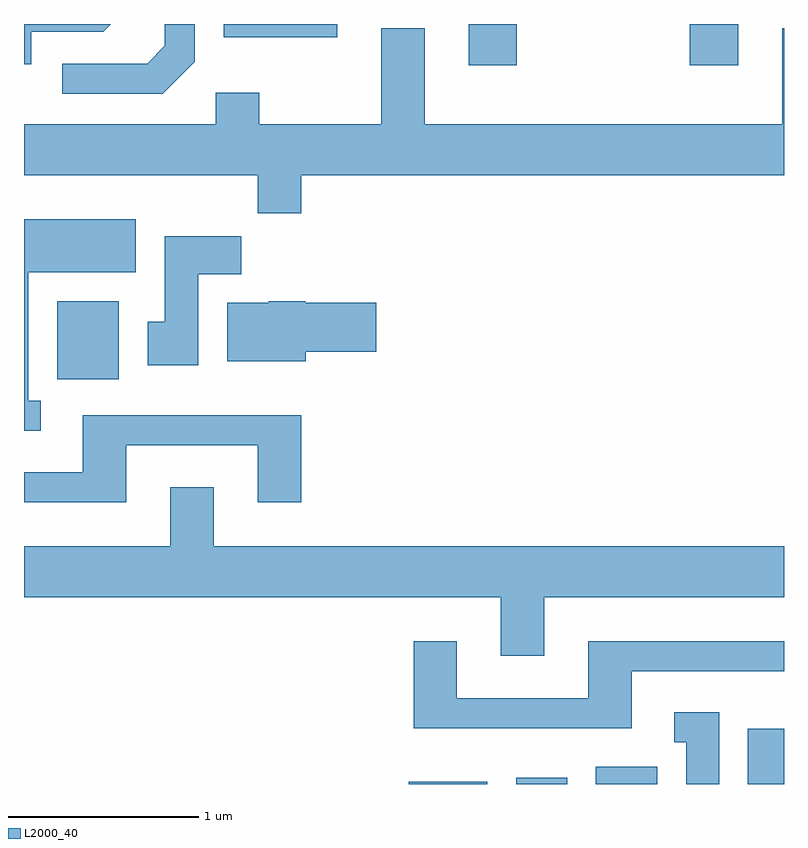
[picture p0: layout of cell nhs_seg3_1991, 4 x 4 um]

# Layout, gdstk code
import gdstk
lib = gdstk.Library(unit=1e-6, precision=1e-09)
def R(c, l, rs):  # rectangles x0, y0, x1, y1
    for r in rs: c.add(gdstk.rectangle(r[:2], r[2:], *l))
def P(c, l, *ps):  # polygons
    for p in ps: c.add(gdstk.Polygon(p, *l))
L2000_40 = (2000, 40)

nhs_seg3_1991 = lib.new_cell('nhs_seg3_1991')
R(nhs_seg3_1991, L2000_40, [(245.636,1153.892,246.049,1153.904), (246.201,1153.892,246.469,1153.924), (246.621,1153.892,246.944,1153.984), (247.421,1153.892,247.611,1154.184), (243.786,1156.021,244.109,1156.434), (245.951,1157.676,246.204,1157.892), (247.116,1157.676,247.369,1157.892), (244.661,1157.821,245.259,1157.892)])
P(nhs_seg3_1991, L2000_40, [(243.649,1157.851),(244.027,1157.851),(244.068,1157.892),(243.611,1157.892),(243.611,1157.681),(243.649,1157.681)],
  [(244.509,1157.694),(244.509,1157.892),(244.351,1157.892),(244.351,1157.777),(244.259,1157.684),(243.813,1157.684),(243.813,1157.526),(244.342,1157.526)],
  [(245.069,1157.096),(247.611,1157.096),(247.611,1157.869),(247.601,1157.869),(247.601,1157.364),(245.719,1157.364),(245.719,1157.869),(245.491,1157.869),(245.491,1157.364),(244.849,1157.364),(244.849,1157.529),(244.621,1157.529),(244.621,1157.364),(243.611,1157.364),(243.611,1157.096),(244.841,1157.096),(244.841,1156.896),(245.069,1156.896)],
  [(243.698,1155.909),(243.634,1155.909),(243.634,1156.586),(244.199,1156.586),(244.199,1156.864),(243.611,1156.864),(243.611,1155.751),(243.698,1155.751)],
  [(244.529,1156.576),(244.754,1156.576),(244.754,1156.774),(244.351,1156.774),(244.351,1156.324),(244.261,1156.324),(244.261,1156.096),(244.529,1156.096)],
  [(245.094,1156.166),(245.464,1156.166),(245.464,1156.424),(245.09,1156.424),(245.09,1156.434),(244.9,1156.434),(244.9,1156.424),(244.681,1156.424),(244.681,1156.116),(245.094,1156.116)],
  [(244.149,1155.676),(244.841,1155.676),(244.841,1155.376),(245.069,1155.376),(245.069,1155.834),(243.921,1155.834),(243.921,1155.534),(243.611,1155.534),(243.611,1155.376),(244.149,1155.376)],
  [(246.349,1154.876),(247.611,1154.876),(247.611,1155.144),(244.609,1155.144),(244.609,1155.454),(244.381,1155.454),(244.381,1155.144),(243.611,1155.144),(243.611,1154.876),(246.121,1154.876),(246.121,1154.566),(246.349,1154.566)],
  [(246.809,1154.486),(247.611,1154.486),(247.611,1154.644),(246.581,1154.644),(246.581,1154.344),(245.889,1154.344),(245.889,1154.644),(245.661,1154.644),(245.661,1154.186),(246.809,1154.186)],
  [(247.269,1154.269),(247.033,1154.269),(247.033,1154.111),(247.096,1154.111),(247.096,1153.892),(247.269,1153.892)])

lib.write_gds('nhs_seg3_1991.gds')
